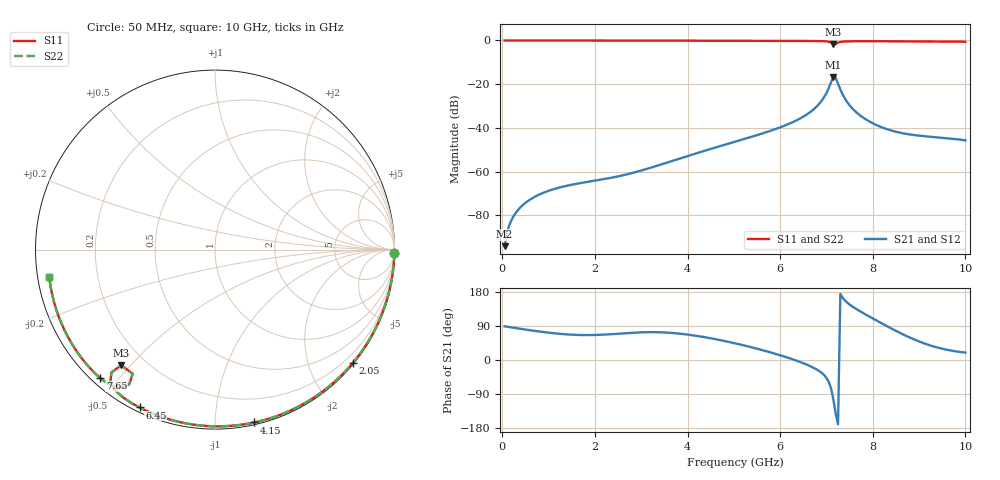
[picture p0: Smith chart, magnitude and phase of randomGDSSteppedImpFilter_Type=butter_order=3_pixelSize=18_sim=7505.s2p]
! freq	dB(S11)	phase(S11)	dB(S12)	phase(S12)
!  dB(S21)	phase(S21)	dB(S22)	phase(S22)
!S-par simulation data
#  GHz  S  DB  R 50
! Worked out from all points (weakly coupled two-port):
!   200 points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, 50 MHz to 10 GHz, reference 50 ohm
!   highest |S21| = -16.81 dB at 7.15 GHz (marker M1); lowest = -94.1 dB at 50 MHz (marker M2)
!   lowest |S11| = -1.6 dB at 7.15 GHz (marker M3), VSWR 10.70, Z = 5.73 - j23.6 ohm
!   |S11| at or under -10 dB: nowhere
!   |S22| runs from -1.6 to 0.0 dB; largest |S21 - S12| = 0
!   S11 on the Smith chart (normalised r, x): 50 MHz: open; 2.05 GHz: 0.03, -2.79; 4.15 GHz: 0.02, -1.25; 6.45 GHz: 0.02, -0.63; 7.65 GHz: 0.02, -0.45; 10 GHz: 0.03, -0.08
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0.05  -0.00 -1.0  -94.07 88.9  -94.07 88.9  -0.00 -1.0
0.25  -0.01 -4.9  -80.13 85.0  -80.13 85.0  -0.01 -4.9
0.5  -0.01 -9.8  -74.25 80.3  -74.25 80.3  -0.01 -9.8
0.85  -0.02 -16.6  -69.98 74.3  -69.98 74.3  -0.02 -16.6
1.75  -0.04 -33.8  -64.99 65.8  -64.99 65.8  -0.04 -33.8
2.05  -0.05 -39.5  -63.93 66.2  -63.93 66.2  -0.05 -39.5
3.4  -0.08 -64.1  -56.91 73.2  -56.91 73.2  -0.08 -64.1
4.15  -0.11 -77.2  -51.87 64.5  -51.87 64.5  -0.11 -77.2
5.05  -0.14 -92.4  -46.16 43.3  -46.16 43.3  -0.14 -92.4
5.95  -0.19 -107.2  -40.13 14.4  -40.13 14.4  -0.19 -107.2
6.45  -0.22 -115.6  -35.47 -6.1  -35.47 -6.1  -0.22 -115.5
6.7  -0.25 -120.0  -31.91 -19.2  -31.91 -19.2  -0.25 -119.9
6.95  -0.36 -125.4  -25.89 -39.8  -25.89 -39.8  -0.36 -125.3
7.1  -0.96 -130.2  -19.07 -75.0  -19.07 -75.0  -0.96 -130.1
7.15  -1.63 -129.0  -16.81 -104.8  -16.81 -104.8  -1.62 -128.9
7.2  -1.62 -123.5  -17.16 -142.6  -17.16 -142.6  -1.61 -123.5
7.3  -0.69 -123.8  -22.43 174.3  -22.43 174.3  -0.69 -123.8
7.45  -0.42 -127.8  -28.26 151.2  -28.26 151.2  -0.41 -127.8
7.65  -0.36 -131.8  -32.94 134.1  -32.94 134.1  -0.36 -131.8
7.95  -0.36 -137.0  -37.33 113.1  -37.33 113.1  -0.36 -137.0
8.35  -0.39 -143.6  -40.86 86.5  -40.86 86.5  -0.39 -143.5
10  -0.58 -170.6  -45.68 19.5  -45.68 19.5  -0.58 -170.5
